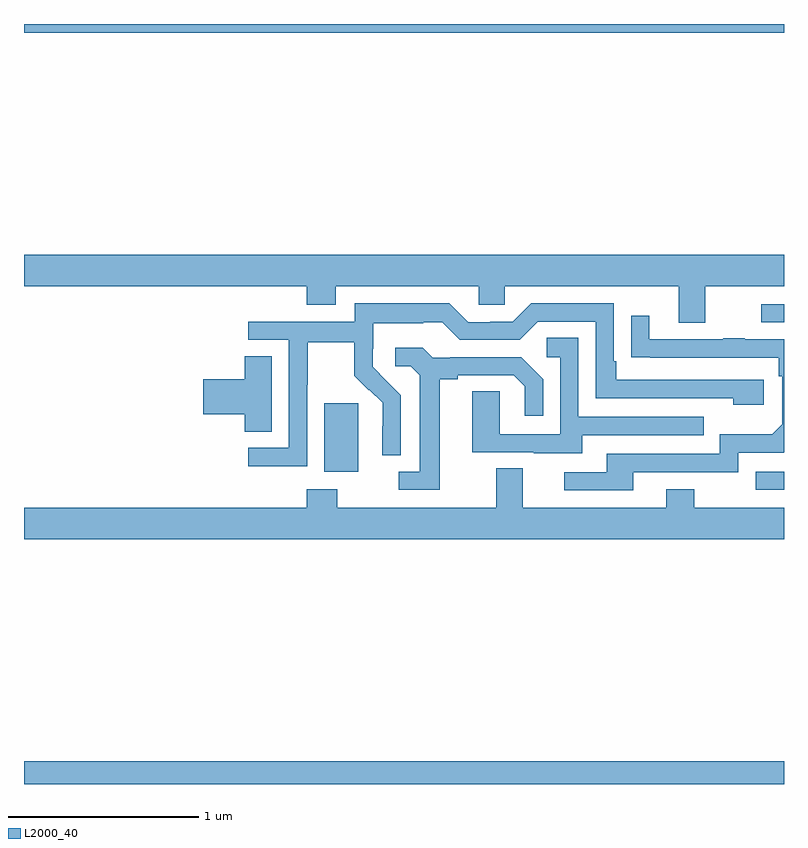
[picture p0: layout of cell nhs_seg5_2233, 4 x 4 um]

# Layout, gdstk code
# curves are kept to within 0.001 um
import gdstk
lib = gdstk.Library(unit=1e-6, precision=1e-09)
def R(c, l, rs):  # rectangles x0, y0, x1, y1
    for r in rs: c.add(gdstk.rectangle(r[:2], r[2:], *l))
def P(c, l, *ps):  # polygons
    for p in ps: c.add(gdstk.Polygon(p, *l))
L2000_40 = (2000, 40)

nhs_seg5_2233 = lib.new_cell('nhs_seg5_2233')
R(nhs_seg5_2233, L2000_40, [(241,860.799,245,860.92), (244.851,862.347,245,862.443), (242.579,862.442,242.758,862.803), (244.881,863.229,245,863.325), (241,864.752,245,864.799)])
P(nhs_seg5_2233, L2000_40, [(244.585,863.42),(245,863.42),(245,863.584),(241,863.584),(241,863.42),(242.489,863.42),(242.489,863.321),(242.641,863.321),(242.641,863.42),(243.393,863.42),(243.393,863.322),(243.531,863.322),(243.531,863.42),(244.445,863.42),(244.445,863.226),(244.585,863.226)],
  [(242.49,862.9),(242.493,862.9),(242.493,863.124),(242.737,863.124),(242.737,862.949),(242.814,862.872),(242.817,862.875),(242.888,862.805),(242.888,862.682),(242.886,862.682),(242.886,862.528),(242.982,862.528),(242.982,862.846),(242.836,862.994),(242.836,863.091),(242.838,863.091),(242.838,863.225),(243.101,863.225),(243.101,863.229),(243.201,863.229),(243.294,863.136),(243.609,863.136),(243.705,863.232),(244.008,863.232),(244.008,862.83),(244.733,862.83),(244.733,862.796),(244.894,862.796),(244.894,862.926),(244.117,862.926),(244.117,863.023),(244.104,863.023),(244.104,863.328),(243.669,863.328),(243.573,863.232),(243.455,863.232),(243.455,863.229),(243.339,863.229),(243.239,863.329),(242.742,863.329),(242.742,863.232),(242.181,863.232),(242.181,863.136),(242.394,863.136),(242.394,862.569),(242.181,862.569),(242.181,862.471),(242.49,862.471)],
  [(244.207,862.44),(244.758,862.44),(244.758,862.542),(244.998,862.542),(245,862.544),(245,863.139),(244.793,863.139),(244.793,863.144),(244.681,863.144),(244.681,863.139),(244.291,863.139),(244.291,863.263),(244.195,863.263),(244.195,863.044),(244.972,863.043),(244.972,862.946),(244.992,862.946),(244.992,862.692),(244.939,862.639),(244.662,862.639),(244.662,862.536),(244.067,862.536),(244.067,862.44),(243.843,862.44),(243.843,862.344),(244.207,862.344)],
  [(243.937,862.635),(244.577,862.635),(244.577,862.731),(243.918,862.731),(243.918,863.147),(243.75,863.147),(243.75,863.046),(243.822,863.046),(243.822,862.641),(243.504,862.641),(243.504,862.865),(243.359,862.865),(243.359,862.545),(243.683,862.545),(243.683,862.541),(243.937,862.541)],
  [(243.187,862.928),(243.283,862.928),(243.283,862.95),(243.578,862.95),(243.635,862.893),(243.635,862.737),(243.732,862.737),(243.732,862.93),(243.616,863.046),(243.244,863.046),(243.244,863.043),(243.15,863.043),(243.098,863.095),(242.955,863.095),(242.955,862.998),(243.036,862.998),(243.083,862.951),(243.083,862.443),(242.973,862.443),(242.973,862.347),(243.187,862.347)],
  [(242.305,863.051),(242.162,863.051),(242.162,862.928),(241.944,862.928),(241.944,862.745),(242.162,862.745),(242.162,862.654),(242.305,862.654)],
  [(245,862.252),(244.527,862.252),(244.527,862.351),(244.379,862.351),(244.379,862.252),(243.625,862.252),(243.625,862.46),(243.485,862.46),(243.485,862.252),(242.649,862.252),(242.649,862.351),(242.489,862.351),(242.489,862.252),(241,862.252),(241,862.088),(245,862.088)])

lib.write_gds('nhs_seg5_2233.gds')
